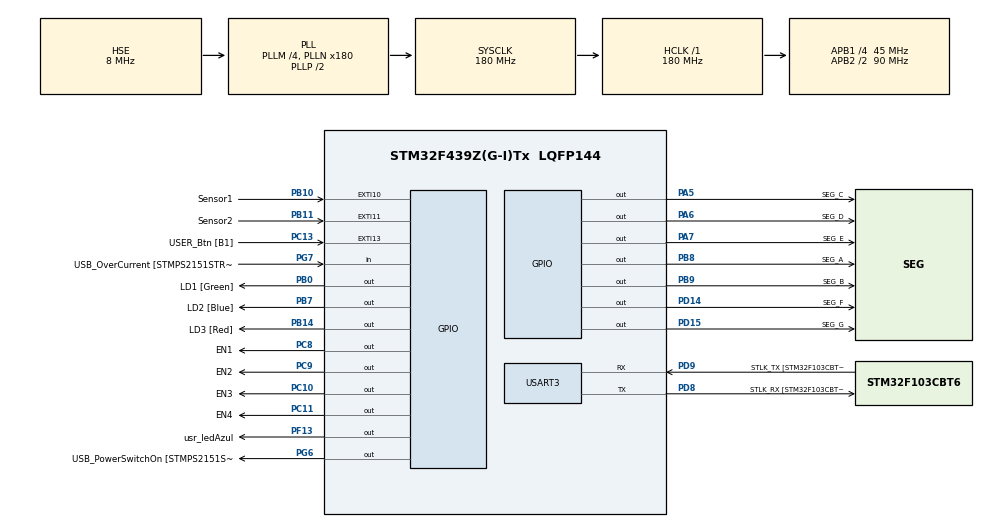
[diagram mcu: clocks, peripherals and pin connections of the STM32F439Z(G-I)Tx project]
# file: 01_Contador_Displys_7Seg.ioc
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Mcu.Family=STM32F4
Mcu.Name=STM32F439Z(G-I)Tx
Mcu.Package=LQFP144
NVIC.EXTI15_10_IRQn=true\:0\:0\:false\:false\:true\:true\:true\:true
NVIC.PriorityGroup=NVIC_PRIORITYGROUP_4
NVIC.TIM2_IRQn=true\:0\:0\:false\:false\:true\:true\:true\:true
PA13.GPIO_Label=TMS
PA13.Mode=Serial_Wire
PA13.Signal=SYS_JTMS-SWDIO
PA14.GPIO_Label=TCK
PA14.Mode=Serial_Wire
PA14.Signal=SYS_JTCK-SWCLK
PA5.GPIO_Label=SEG_C
PA5.Signal=GPIO_Output
PA6.GPIO_Label=SEG_D
PA6.Signal=GPIO_Output
PA7.GPIO_Label=SEG_E
PA7.Signal=GPIO_Output
PB0.GPIO_Label=LD1 [Green]
PB0.Signal=GPIO_Output
PB10.GPIO_Label=Sensor1
PB10.GPIO_ModeDefaultEXTI=GPIO_MODE_IT_RISING_FALLING
PB10.Signal=GPXTI10
PB11.GPIO_Label=Sensor2
PB11.GPIO_ModeDefaultEXTI=GPIO_MODE_IT_RISING_FALLING
PB11.Signal=GPXTI11
PB14.GPIO_Label=LD3 [Red]
PB14.Signal=GPIO_Output
PB7.GPIO_Label=LD2 [Blue]
PB7.Signal=GPIO_Output
PB8.GPIO_Label=SEG_A
PB8.Signal=GPIO_Output
PB9.GPIO_Label=SEG_B
PB9.Signal=GPIO_Output
PC10.GPIO_Label=EN3
PC10.Signal=GPIO_Output
PC11.GPIO_Label=EN4
PC11.Signal=GPIO_Output
PC13.GPIO_Label=USER_Btn [B1]
PC13.Signal=GPXTI13
PC14/OSC32_IN.Mode=LSE-External-Oscillator
PC14/OSC32_IN.Signal=RCC_OSC32_IN
PC15/OSC32_OUT.Mode=LSE-External-Oscillator
PC15/OSC32_OUT.Signal=RCC_OSC32_OUT
PC8.GPIO_Label=EN1
PC8.Signal=GPIO_Output
PC9.GPIO_Label=EN2
PC9.Signal=GPIO_Output
PD14.GPIO_Label=SEG_F
PD14.Signal=GPIO_Output
PD15.GPIO_Label=SEG_G
PD15.Signal=GPIO_Output
PD8.GPIO_Label=STLK_RX [STM32F103CBT6_PA3]
PD8.Mode=Asynchronous
PD8.Signal=USART3_TX
PD9.GPIO_Label=STLK_TX [STM32F103CBT6_PA2]
PD9.Mode=Asynchronous
PD9.Signal=USART3_RX
PF13.GPIO_Label=usr_ledAzul
PF13.Signal=GPIO_Output
PG6.GPIO_Label=USB_PowerSwitchOn [STMPS2151STR_EN]
PG6.Signal=GPIO_Output
PG7.GPIO_Label=USB_OverCurrent [STMPS2151STR_FAULT]
PG7.Signal=GPIO_Input
PH0/OSC_IN.GPIO_Label=MCO [STM32F103CBT6_PA8]
PH0/OSC_IN.Mode=HSE-External-Oscillator
PH0/OSC_IN.Signal=RCC_OSC_IN
PH1/OSC_OUT.Mode=HSE-External-Oscillator
PH1/OSC_OUT.Signal=RCC_OSC_OUT
ProjectManager.HeapSize=0x200
ProjectManager.StackSize=0x400
ProjectManager.TargetToolchain=STM32CubeIDE
RCC.48MHZClocksFreq_Value=51428571.428571425
RCC.AHBFreq_Value=180000000
RCC.APB1CLKDivider=RCC_HCLK_DIV4
RCC.APB1Freq_Value=45000000
RCC.APB1TimFreq_Value=90000000
RCC.APB2CLKDivider=RCC_HCLK_DIV2
RCC.APB2Freq_Value=90000000
RCC.APB2TimCLKDivider=2
RCC.APB2TimFreq_Value=180000000
RCC.CortexFreq_Value=180000000
RCC.HCLKFreq_Value=180000000
RCC.HSE_VALUE=8000000
RCC.HSI_VALUE=16000000
RCC.PLLM=4
RCC.PLLMUL=RCC_PLL_MUL9
RCC.PLLN=180
RCC.PLLQ=7
RCC.PLLSourceVirtual=RCC_PLLSOURCE_HSE
RCC.PRESCALERUSB=RCC_USBCLKSOURCE_PLL_DIV1_5
RCC.SYSCLKFreq_VALUE=180000000
RCC.SYSCLKSource=RCC_SYSCLKSOURCE_PLLCLK
RCC.SYSCLKSourceVirtual=RCC_SYSCLKSOURCE_PLLCLK
RCC.USBFreq_Value=48000000
RCC.VCOOutputFreq_Value=360000000
TIM2.Period=41
TIM2.Prescaler=8999
USART3.VirtualMode=VM_ASYNC
VP_TIM2_VS_ClockSourceINT.Mode=Internal
board=NUCLEO-F439ZI

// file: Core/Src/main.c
/* USER CODE BEGIN Header */
/**
 ******************************************************************************
 * @file           : main.c
 * @brief          : Main program body
 ******************************************************************************
 * @attention
 *
 * Copyright (c) 2026 STMicroelectronics.
 * All rights reserved.
 *
 * This software is licensed under terms that can be found in the LICENSE file
 * in the root directory of this software component.
 * If no LICENSE file comes with this software, it is provided AS-IS.
 *
 ******************************************************************************
 */
/* USER CODE END Header */
#include "main.h"

/* USER CODE BEGIN Includes */
#include "main.h"
#include "Display_7Seg.h"
#include <stdio.h>
#include <string.h>
/* USER CODE END Includes */

TIM_HandleTypeDef htim2;

UART_HandleTypeDef huart3;

/* USER CODE BEGIN PV */

/* --- Definiciones y Tipos --- */

typedef struct {
    uint32_t period;           // Tiempo de espera entre ejecuciones (en milisegundos).
    uint32_t lastTick;         // Almacena el tiempo (HAL_GetTick) de la última ejecución exitosa.
    void (*taskFunction)(void); // Puntero a función: aquí guardas el nombre de la función que quieres ejecutar.
} task_t;

/* --- Variables Globales y Handles --- */

display_7seg_t hDisp;           // Estructura de control (Handle) de tu driver agnóstico de 7 segmentos.
uint8_t bufferDisplay[4];      // Memoria RAM dedicada para guardar los patrones de bits de los 4 displays.
volatile int32_t contadorPersonas = 0; // Variable que cuenta ingresos/egresos.
char msgUART[50];                     // Buffer de texto (string) para formatear los mensajes que envías por consola.

/* USER CODE END PV */

void SystemClock_Config(void);
static void MX_GPIO_Init(void);
static void MX_USART3_UART_Init(void);
static void MX_TIM2_Init(void);
/* USER CODE BEGIN PFP */

void Tarea_Heartbeat(void);
void Tarea_ReporteUART(void);
void Tarea_DisplayUpdate(void);

/* USER CODE END PFP */

/* USER CODE BEGIN 0 */

/* --- Tabla del Planificador --- */
task_t tasks[] = {
    { 100, 0, Tarea_Heartbeat   }, // Tarea 1: Ejecuta cada 100ms
    { 5000, 0, Tarea_ReporteUART }, // Tarea 2: Ejecuta cada 5000ms (5s)
    { 100,  0, Tarea_DisplayUpdate} // Tarea 3: Actualiza lógica de pantalla cada 100ms
};
const uint8_t CANT_TAREAS = sizeof(tasks) / sizeof(task_t);

/* --- Implementación de Tareas --- */

void Tarea_Heartbeat(void) {
	HAL_GPIO_TogglePin(usr_ledAzul_GPIO_Port, usr_ledAzul_Pin);
}

void Tarea_ReporteUART(void) {
	sprintf(msgUART, "TELEMETRIA: Personas en sala: %ld\r\n", contadorPersonas);
	HAL_UART_Transmit(&huart3, (uint8_t*)msgUART, strlen(msgUART), 100);
}

void Tarea_DisplayUpdate(void) {
	// Si el valor cambió, el driver actualiza el buffer
	Display7Seg_WriteNumber(&hDisp, (uint32_t)contadorPersonas);
}

/**
 * @brief Función de puente para escribir en pines GPIO usando HAL.
 * @note Esta es la implementación específica para STM32.
 */
void STM32_WritePin(display_gpio_t pin, bool state) {
	HAL_GPIO_WritePin((GPIO_TypeDef*)pin.port, pin.pin,
			state ? GPIO_PIN_SET : GPIO_PIN_RESET);
}

/**
 * @brief Función de puente para obtener el tiempo del sistema.
 */
uint32_t STM32_GetTick(void) {
	return HAL_GetTick();
}

/* USER CODE END 0 */

int main(void)
{

  /* MCU Configuration--------------------------------------------------------*/

  /* Reset of all peripherals, Initializes the Flash interface and the Systick. */
  HAL_Init();

  /* Configure the system clock */
  SystemClock_Config();

  /* Initialize all configured peripherals */
  MX_GPIO_Init();
  MX_USART3_UART_Init();
  MX_TIM2_Init();
  /* USER CODE BEGIN 2 */

	/* 1. Mapeo de Hardware (Capa 1) */
	display_gpio_t segmentos[] = {
			{(void*)SEG_A_GPIO_Port, SEG_A_Pin}, {(void*)SEG_B_GPIO_Port, SEG_B_Pin},
			{(void*)SEG_C_GPIO_Port, SEG_C_Pin}, {(void*)SEG_D_GPIO_Port, SEG_D_Pin},
			{(void*)SEG_E_GPIO_Port, SEG_E_Pin}, {(void*)SEG_F_GPIO_Port, SEG_F_Pin},
			{(void*)SEG_G_GPIO_Port, SEG_G_Pin}
	};

	display_gpio_t comunes[] = {
			{(void*)EN1_GPIO_Port, EN1_Pin},
			{(void*)EN2_GPIO_Port, EN2_Pin},
			{(void*)EN3_GPIO_Port, EN3_Pin},
			{(void*)EN4_GPIO_Port, EN4_Pin}
	};

	/* 2. Definición de la PAL */
	display_7seg_pal_t stm32_pal = {
			.write_pin = STM32_WritePin,
			.get_tick  = STM32_GetTick,
			.read_pin  = NULL // No lo usamos en este driver
	};

	/* 3. Inicialización del Driver (Capa 2) */
	Display7Seg_Init(&hDisp, stm32_pal, segmentos, comunes, 4, bufferDisplay, DISPLAY_CATHODE);

	/* 4. Arranque de Periféricos de bajo nivel */
	HAL_TIM_Base_Start_IT(&htim2);

	Display7Seg_WriteString(&hDisp, "HOLA");
	HAL_Delay(1000);

  /* USER CODE END 2 */

  /* Infinite loop */
	while (1)
	{

    /* USER CODE BEGIN 3 */
		uint32_t currentTick = HAL_GetTick();

		for (uint8_t i = 0; i < CANT_TAREAS; i++) {
			if (currentTick - tasks[i].lastTick >= tasks[i].period) {
				tasks[i].lastTick = currentTick;
				tasks[i].taskFunction(); // Ejecutar la tarea
			}
		}
	}
  /* USER CODE END 3 */
}

void SystemClock_Config(void)
{
  RCC_OscInitTypeDef RCC_OscInitStruct = {0};
  RCC_ClkInitTypeDef RCC_ClkInitStruct = {0};

  /** Configure the main internal regulator output voltage
  */
  __HAL_RCC_PWR_CLK_ENABLE();
  __HAL_PWR_VOLTAGESCALING_CONFIG(PWR_REGULATOR_VOLTAGE_SCALE1);

  /** Initializes the RCC Oscillators according to the specified parameters
  * in the RCC_OscInitTypeDef structure.
  */
  RCC_OscInitStruct.OscillatorType = RCC_OSCILLATORTYPE_HSE;
  RCC_OscInitStruct.HSEState = RCC_HSE_ON;
  RCC_OscInitStruct.PLL.PLLState = RCC_PLL_ON;
  RCC_OscInitStruct.PLL.PLLSource = RCC_PLLSOURCE_HSE;
  RCC_OscInitStruct.PLL.PLLM = 4;
  RCC_OscInitStruct.PLL.PLLN = 180;
  RCC_OscInitStruct.PLL.PLLP = RCC_PLLP_DIV2;
  RCC_OscInitStruct.PLL.PLLQ = 7;
  if (HAL_RCC_OscConfig(&RCC_OscInitStruct) != HAL_OK)
  {
    Error_Handler();
  }

  /** Activate the Over-Drive mode
  */
  if (HAL_PWREx_EnableOverDrive() != HAL_OK)
  {
    Error_Handler();
  }

  /** Initializes the CPU, AHB and APB buses clocks
  */
  RCC_ClkInitStruct.ClockType = RCC_CLOCKTYPE_HCLK|RCC_CLOCKTYPE_SYSCLK
                              |RCC_CLOCKTYPE_PCLK1|RCC_CLOCKTYPE_PCLK2;
  RCC_ClkInitStruct.SYSCLKSource = RCC_SYSCLKSOURCE_PLLCLK;
  RCC_ClkInitStruct.AHBCLKDivider = RCC_SYSCLK_DIV1;
  RCC_ClkInitStruct.APB1CLKDivider = RCC_HCLK_DIV4;
  RCC_ClkInitStruct.APB2CLKDivider = RCC_HCLK_DIV2;

  if (HAL_RCC_ClockConfig(&RCC_ClkInitStruct, FLASH_LATENCY_5) != HAL_OK)
  {
    Error_Handler();
  }
}

static void MX_TIM2_Init(void)
{

  TIM_ClockConfigTypeDef sClockSourceConfig = {0};
  TIM_MasterConfigTypeDef sMasterConfig = {0};

  htim2.Instance = TIM2;
  htim2.Init.Prescaler = 8999;
  htim2.Init.CounterMode = TIM_COUNTERMODE_UP;
  htim2.Init.Period = 41;
  htim2.Init.ClockDivision = TIM_CLOCKDIVISION_DIV1;
  htim2.Init.AutoReloadPreload = TIM_AUTORELOAD_PRELOAD_DISABLE;
  if (HAL_TIM_Base_Init(&htim2) != HAL_OK)
  {
    Error_Handler();
  }
  sClockSourceConfig.ClockSource = TIM_CLOCKSOURCE_INTERNAL;
  if (HAL_TIM_ConfigClockSource(&htim2, &sClockSourceConfig) != HAL_OK)
  {
    Error_Handler();
  }
  sMasterConfig.MasterOutputTrigger = TIM_TRGO_RESET;
  sMasterConfig.MasterSlaveMode = TIM_MASTERSLAVEMODE_DISABLE;
  if (HAL_TIMEx_MasterConfigSynchronization(&htim2, &sMasterConfig) != HAL_OK)
  {
    Error_Handler();
  }

}

static void MX_USART3_UART_Init(void)
{

  huart3.Instance = USART3;
  huart3.Init.BaudRate = 115200;
  huart3.Init.WordLength = UART_WORDLENGTH_8B;
  huart3.Init.StopBits = UART_STOPBITS_1;
  huart3.Init.Parity = UART_PARITY_NONE;
  huart3.Init.Mode = UART_MODE_TX_RX;
  huart3.Init.HwFlowCtl = UART_HWCONTROL_NONE;
  huart3.Init.OverSampling = UART_OVERSAMPLING_16;
  if (HAL_UART_Init(&huart3) != HAL_OK)
  {
    Error_Handler();
  }

}

static void MX_GPIO_Init(void)
{
  GPIO_InitTypeDef GPIO_InitStruct = {0};

  /* GPIO Ports Clock Enable */
  __HAL_RCC_GPIOC_CLK_ENABLE();
  __HAL_RCC_GPIOH_CLK_ENABLE();
  __HAL_RCC_GPIOA_CLK_ENABLE();
  __HAL_RCC_GPIOB_CLK_ENABLE();
  __HAL_RCC_GPIOF_CLK_ENABLE();
  __HAL_RCC_GPIOD_CLK_ENABLE();
  __HAL_RCC_GPIOG_CLK_ENABLE();

  /*Configure GPIO pin Output Level */
  HAL_GPIO_WritePin(GPIOA, SEG_C_Pin|SEG_D_Pin|SEG_E_Pin, GPIO_PIN_RESET);

  /*Configure GPIO pin Output Level */
  HAL_GPIO_WritePin(GPIOB, LD1_Pin|LD3_Pin|LD2_Pin|SEG_A_Pin
                          |SEG_B_Pin, GPIO_PIN_RESET);

  /*Configure GPIO pin Output Level */
  HAL_GPIO_WritePin(usr_ledAzul_GPIO_Port, usr_ledAzul_Pin, GPIO_PIN_RESET);

  /*Configure GPIO pin Output Level */
  HAL_GPIO_WritePin(GPIOD, SEG_F_Pin|SEG_G_Pin, GPIO_PIN_RESET);

  /*Configure GPIO pin Output Level */
  HAL_GPIO_WritePin(USB_PowerSwitchOn_GPIO_Port, USB_PowerSwitchOn_Pin, GPIO_PIN_RESET);

  /*Configure GPIO pin Output Level */
  HAL_GPIO_WritePin(GPIOC, EN1_Pin|EN2_Pin|EN3_Pin|EN4_Pin, GPIO_PIN_RESET);

  /*Configure GPIO pin : USER_Btn_Pin */
  GPIO_InitStruct.Pin = USER_Btn_Pin;
  GPIO_InitStruct.Mode = GPIO_MODE_IT_RISING;
  GPIO_InitStruct.Pull = GPIO_NOPULL;
  HAL_GPIO_Init(USER_Btn_GPIO_Port, &GPIO_InitStruct);

  /*Configure GPIO pins : SEG_C_Pin SEG_D_Pin SEG_E_Pin */
  GPIO_InitStruct.Pin = SEG_C_Pin|SEG_D_Pin|SEG_E_Pin;
  GPIO_InitStruct.Mode = GPIO_MODE_OUTPUT_PP;
  GPIO_InitStruct.Pull = GPIO_NOPULL;
  GPIO_InitStruct.Speed = GPIO_SPEED_FREQ_LOW;
  HAL_GPIO_Init(GPIOA, &GPIO_InitStruct);

  /*Configure GPIO pins : LD1_Pin LD3_Pin LD2_Pin SEG_A_Pin
                           SEG_B_Pin */
  GPIO_InitStruct.Pin = LD1_Pin|LD3_Pin|LD2_Pin|SEG_A_Pin
                          |SEG_B_Pin;
  GPIO_InitStruct.Mode = GPIO_MODE_OUTPUT_PP;
  GPIO_InitStruct.Pull = GPIO_NOPULL;
  GPIO_InitStruct.Speed = GPIO_SPEED_FREQ_LOW;
  HAL_GPIO_Init(GPIOB, &GPIO_InitStruct);

  /*Configure GPIO pin : usr_ledAzul_Pin */
  GPIO_InitStruct.Pin = usr_ledAzul_Pin;
  GPIO_InitStruct.Mode = GPIO_MODE_OUTPUT_PP;
  GPIO_InitStruct.Pull = GPIO_NOPULL;
  GPIO_InitStruct.Speed = GPIO_SPEED_FREQ_LOW;
  HAL_GPIO_Init(usr_ledAzul_GPIO_Port, &GPIO_InitStruct);

  /*Configure GPIO pins : Sensor1_Pin Sensor2_Pin */
  GPIO_InitStruct.Pin = Sensor1_Pin|Sensor2_Pin;
  GPIO_InitStruct.Mode = GPIO_MODE_IT_RISING_FALLING;
  GPIO_InitStruct.Pull = GPIO_NOPULL;
  HAL_GPIO_Init(GPIOB, &GPIO_InitStruct);

  /*Configure GPIO pins : SEG_F_Pin SEG_G_Pin */
  GPIO_InitStruct.Pin = SEG_F_Pin|SEG_G_Pin;
  GPIO_InitStruct.Mode = GPIO_MODE_OUTPUT_PP;
  GPIO_InitStruct.Pull = GPIO_NOPULL;
  GPIO_InitStruct.Speed = GPIO_SPEED_FREQ_LOW;
  HAL_GPIO_Init(GPIOD, &GPIO_InitStruct);

  /*Configure GPIO pin : USB_PowerSwitchOn_Pin */
  GPIO_InitStruct.Pin = USB_PowerSwitchOn_Pin;
  GPIO_InitStruct.Mode = GPIO_MODE_OUTPUT_PP;
  GPIO_InitStruct.Pull = GPIO_NOPULL;
  GPIO_InitStruct.Speed = GPIO_SPEED_FREQ_LOW;
  HAL_GPIO_Init(USB_PowerSwitchOn_GPIO_Port, &GPIO_InitStruct);

  /*Configure GPIO pin : USB_OverCurrent_Pin */
  GPIO_InitStruct.Pin = USB_OverCurrent_Pin;
  GPIO_InitStruct.Mode = GPIO_MODE_INPUT;
  GPIO_InitStruct.Pull = GPIO_NOPULL;
  HAL_GPIO_Init(USB_OverCurrent_GPIO_Port, &GPIO_InitStruct);

  /*Configure GPIO pins : EN1_Pin EN2_Pin EN3_Pin EN4_Pin */
  GPIO_InitStruct.Pin = EN1_Pin|EN2_Pin|EN3_Pin|EN4_Pin;
  GPIO_InitStruct.Mode = GPIO_MODE_OUTPUT_PP;
  GPIO_InitStruct.Pull = GPIO_NOPULL;
  GPIO_InitStruct.Speed = GPIO_SPEED_FREQ_LOW;
  HAL_GPIO_Init(GPIOC, &GPIO_InitStruct);

  /* EXTI interrupt init*/
  HAL_NVIC_SetPriority(EXTI15_10_IRQn, 0, 0);
  HAL_NVIC_EnableIRQ(EXTI15_10_IRQn);

}

/* USER CODE BEGIN 4 */

/**
 * @brief Callback de EXTI para los sensores HW-201.
 * @note Detección por flanco de bajada (Falling Edge).
 */
void HAL_GPIO_EXTI_Callback(uint16_t GPIO_Pin) {
	static uint32_t lastITTick1 = 0;
	static uint32_t lastITTick2 = 0;
	uint32_t currentTick = HAL_GetTick();

	if (GPIO_Pin == Sensor1_Pin) {
		// Aumentamos el intervalo para ignorar rebotes largos
		if (currentTick - lastITTick1 > 600) {
			contadorPersonas++;
			lastITTick1 = currentTick;
		}
	}

	if (GPIO_Pin == Sensor2_Pin) {
		if (currentTick - lastITTick2 > 600) {
			if (contadorPersonas > 0) contadorPersonas--;
			lastITTick2 = currentTick;
		}
	}
}

/**
 * @brief Callback del Timer para la multiplexación del Display.
 */
void HAL_TIM_PeriodElapsedCallback(TIM_HandleTypeDef *htim) {
	if (htim->Instance == TIM2) {
		Display7Seg_Refresh_ISR(&hDisp);
	}
}

/* USER CODE END 4 */

void Error_Handler(void)
{
	__disable_irq();
	while (1)
	{
	}
}
